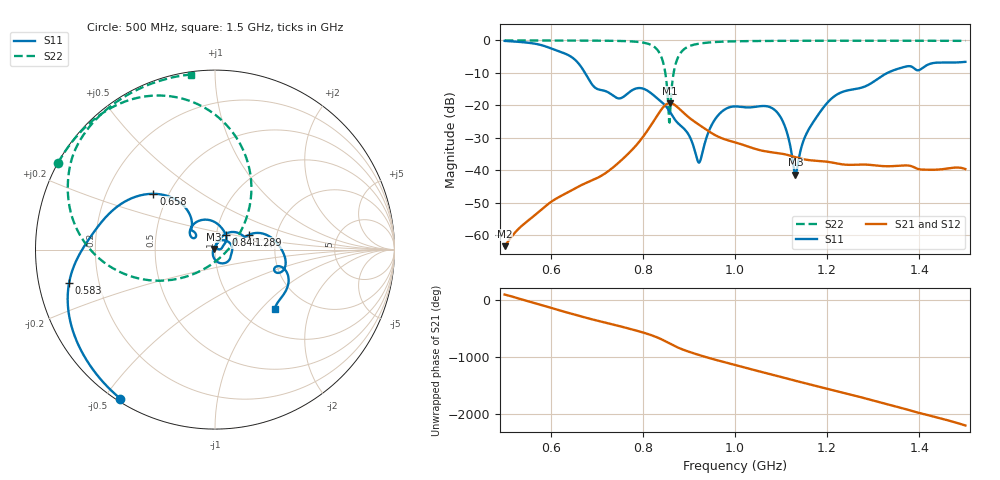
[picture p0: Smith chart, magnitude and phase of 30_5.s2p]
! TOUCHSTONE file generated by CST MICROWAVE STUDIO
! Date and time: Mon Oct 26 12:30:25 2020
! Project name: Scenario_1_Circular_Tissue_out_of_Line.cst
! Parameters = {dy1=156.889; L_HA=400; MT=2.54; Rad_Dielectric=30; Rad_Lower=7.3; Rad_Upper=30; a_HA=580; a_WG=246; b_HA=500; b_WG=121; c_HA=0; c_WG=187; d_feed=85; dx1=866; h_feed=15; h_lower=18; h_upper=40}
! Header version: 2018
! Port assignment regex: !\s*Touchstone port\s*([0-9]+)\s*=\s*(CST MWS port|CST DS port)\s*([0-9]+|Zmin|Zmax)\s*\(\"(.*)\"\)(\s*mode\s*([0-9]+))?.*
! Touchstone port assignment:
! Touchstone port 1 = CST MWS port 1 ("")
! Touchstone port 2 = CST MWS port 2 ("")
# GHz S DB R 50
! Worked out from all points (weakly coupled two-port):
!   1001 points, 500 MHz to 1.5 GHz, reference 50 ohm
!   highest |S21| = -19.29 dB at 859 MHz (marker M1); lowest = -63.3 dB at 500 MHz (marker M2)
!   lowest |S11| = -41.3 dB at 1.131 GHz (marker M3), VSWR 1.02, Z = 49.2 + j0.274 ohm
!   |S11| at or under -10 dB: 674.5 MHz to 1.331 GHz (656.2 MHz wide, 65.5 % of centre)
!   |S22| runs from -25.3 to 0.0 dB; largest |S21 - S12| = 9.2e-06
!   S11 on the Smith chart (normalised r, x): 500 MHz: 0.01, -0.55; 583 MHz: 0.09, -0.11; 658 MHz: 0.41, +0.33; 848 MHz: 1.11, +0.18; 1.289 GHz: 1.44, +0.25; 1.5 GHz: 1.41, -1.19
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0.5  -0.14 -122.5  -63.29 95.5  -63.29 95.5  -0.01 151.1
0.583  -1.57 -167.0  -51.65 -95.8  -51.65 -95.8  -0.02 145.4
0.658  -6.69 137.8  -45.13 89.4  -45.13 89.4  -0.04 139.2
0.667  -8.32 130.3  -44.48 69.2  -44.48 69.2  -0.04 138.3
0.743  -17.65 143.5  -38.16 -86.4  -38.16 -86.4  -0.14 128.7
0.779  -15.14 142.9  -33.30 -162.7  -33.30 -162.7  -0.33 120.6
0.834  -18.15 71.3  -22.50 52.7  -22.50 52.7  -3.37 83.0
0.848  -19.92 53.2  -19.99 -1.3  -19.99 -1.3  -9.33 54.4
0.859  -22.03 38.4  -19.29 -48.5  -19.29 -48.5  -22.68 -95.1
0.868  -24.05 31.2  -19.74 -85.9  -19.74 -85.9  -9.09 -150.4
0.878  -25.71 26.3  -20.89 -122.8  -20.89 -122.8  -4.73 -169.8
0.922  -37.59 38.7  -25.95 112.9  -25.95 112.9  -0.99 156.9
0.956  -24.42 57.0  -29.06 32.8  -29.06 32.8  -0.49 147.6
1  -20.30 4.1  -31.35 -61.9  -31.35 -61.9  -0.27 140.2
1.09  -21.90 -69.2  -34.59 108.4  -34.59 108.4  -0.13 130.6
1.111  -27.53 -101.8  -35.12 62.9  -35.12 62.9  -0.12 128.7
1.131  -41.33 161.1  -35.90 20.5  -35.90 20.5  -0.11 127.1
1.167  -25.73 66.0  -36.92 -51.3  -36.92 -51.3  -0.09 124.1
1.217  -17.04 44.3  -37.75 -155.4  -37.75 -155.4  -0.09 120.3
1.289  -13.71 23.5  -38.24 56.5  -38.24 56.5  -0.08 114.9
1.334  -9.78 11.3  -38.71 -38.5  -38.71 -38.5  -0.08 111.4
1.5  -6.59 -44.6  -39.58 -45.0  -39.58 -45.0  -0.13 97.9
